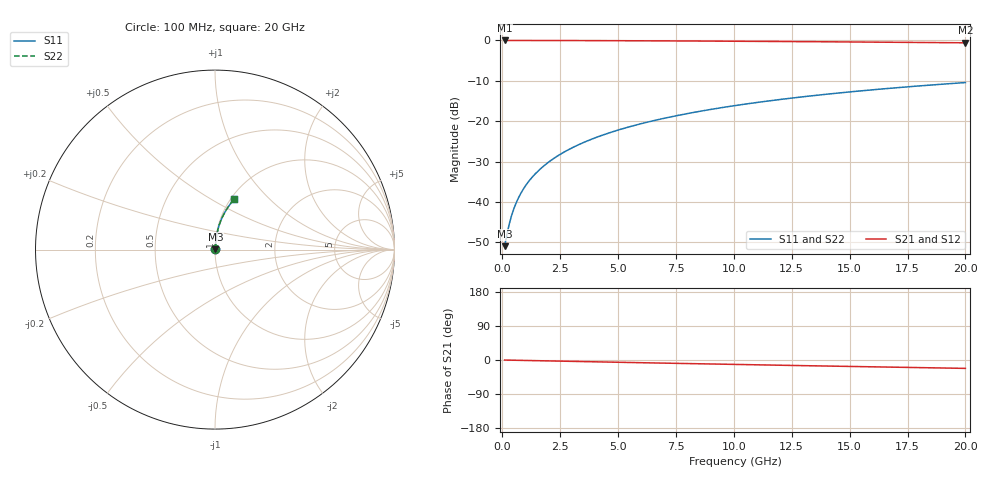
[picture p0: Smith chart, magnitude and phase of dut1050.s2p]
! Touchstone file exported from HFSS 2024.1.0
!  File:  C:/UserFiles/LocalFiles/RDL_TSV_Batchsim/temp_RDL_bottom_1050_1780051889.aedt
!  Generated:  06:54:27 PM May 29, 2026
!  Design:  RDL_bottom
!  Project:  temp_RDL_bottom_1050_1780051889
!  Setup:  Setup1
!  Solution:  Sweep
! Variables:
!  dtsv = 10.80580581um
!  hbump = 3um
!  htsv = 66.6um
!  ldown = 216.08um
!  lrdl = 100um
!  p = 40
!  p1 = 56.37um
!  rhole = 1um
!  t = 450um
!  tdown = 3.1um
!  trdl = 3.915915916um
!  wdown = 11.29um
!  wrdl = 20um
# GHz S MA R 50.000000
! Terminal data exported
! Port[1] = RDL1_T1
! Port[2] = RDL1_T2
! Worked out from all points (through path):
!   200 points, 100 MHz to 20 GHz, reference 50 ohm
!   highest |S21| = -0.02 dB at 100 MHz (marker M1); lowest = -0.6 dB at 20 GHz (marker M2)
!   group delay of S21, straight-line fit = 3.07 ps
!   lowest |S11| = -51.0 dB at 100 MHz (marker M3), VSWR 1.01, Z = 50.2 + j0.159 ohm
!   |S11| at or under -10 dB: start of sweep to end of sweep
!   |S22| runs from -51.0 to -10.4 dB; largest |S21 - S12| = 3.1e-15
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0.1  0.002831 34.1  0.9977 -0.1  0.9977 -0.1  0.002831 34.1
! Gamma 0 0 0 0
! Port Impedance 50 0 50 0
0.2  0.003956 53.2  0.9976 -0.2  0.9976 -0.2  0.003956 53.2
0.3  0.005315 63.0  0.9976 -0.4  0.9976 -0.4  0.005315 63.0
0.4  0.00676 68.7  0.9975 -0.5  0.9975 -0.5  0.00676 68.7
0.5  0.008241 72.3  0.9975 -0.6  0.9975 -0.6  0.008241 72.3
0.6  0.009738 74.7  0.9974 -0.7  0.9974 -0.7  0.009738 74.7
0.8  0.01276 77.9  0.9973 -1.0  0.9973 -1.0  0.01276 77.9
1.1  0.01732 80.5  0.9971 -1.3  0.9971 -1.3  0.01732 80.5
1.5  0.02343 82.3  0.9968 -1.8  0.9968 -1.8  0.02343 82.3
1.8  0.02803 83.0  0.9965 -2.2  0.9965 -2.2  0.02803 83.0
2.1  0.03264 83.5  0.9962 -2.5  0.9962 -2.5  0.03264 83.5
2.7  0.04189 84.0  0.9954 -3.3  0.9954 -3.3  0.04189 84.0
3.5  0.05425 84.0  0.9942 -4.2  0.9942 -4.2  0.05425 84.0
4.2  0.0651 83.8  0.9929 -5.0  0.9929 -5.0  0.0651 83.8
5  0.07752 83.4  0.9912 -6.0  0.9912 -6.0  0.07752 83.4
5.9  0.09152 82.8  0.989 -7.0  0.989 -7.0  0.09152 82.8
6.8  0.1055 82.1  0.9865 -8.1  0.9865 -8.1  0.1055 82.1
8.3  0.1288 80.8  0.982 -9.8  0.982 -9.8  0.1288 80.8
10.1  0.1566 79.1  0.9759 -11.8  0.9759 -11.8  0.1566 79.1
13.4  0.2065 75.8  0.9632 -15.3  0.9632 -15.3  0.2065 75.8
16.7  0.2546 72.4  0.949 -18.8  0.949 -18.8  0.2546 72.4
20  0.3004 69.1  0.9334 -22.1  0.9334 -22.1  0.3004 69.1
